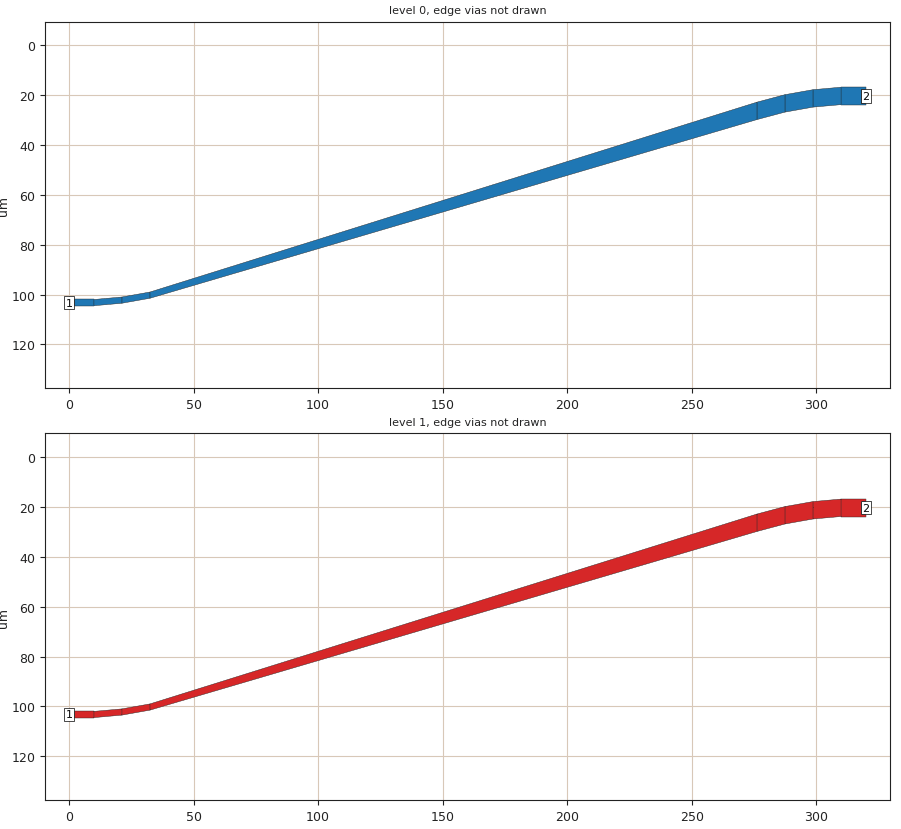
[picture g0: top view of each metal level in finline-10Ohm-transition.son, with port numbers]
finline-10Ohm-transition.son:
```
FTYP SONPROJ 1 ! Sonnet Project File
VER 9.52
HEADER
LIC cambridge1.10515
DAT 01/19/2004 10:47:34
MDATE 01/19/2004 10:47:34
HDATE 01/19/2004 10:47:34
END HEADER
DIM
FREQ GHZ
IND NH
LNG UM
ANG DEG
CON /OH
CAP PF
RES OH
END DIM
FREQ
SIMPLE 500.0 900.0 100.0
END FREQ
CONTROL
SIMPLE
OPTIONS  -d 
SPEED 1
CACHE_ABS 1
TARG_ABS 300
END CONTROL
GEO
TMET "Free Space" 0 FREESPACE 376.7303136 0 0 0
BMET "Nb (low Freq) 2.5K" 1 SUP 0 0 0 0.139
MET "Nb (low Freq) 2.5K" 1 SUP 0 0 0 0.139
BOX 2 320 128 512 1024 20 0
      100 1 1 0 0 0 2 "Air"
      0.425 1 1 0 0 0 2 "Air"
      0.425 5.8 1 0.0004 0 0 2 "SiO"
EVIA1
POLY 1004 1
2
TOLEVEL 1
EVIA1
POLY 1004 1
0
TOLEVEL 1
EVIA1
POLY 1004 1
1
TOLEVEL 1
EVIA1
POLY 1004 1
3
TOLEVEL 1
EVIA1
POLY 1005 1
2
TOLEVEL 1
EVIA1
POLY 1005 1
0
TOLEVEL 1
EVIA1
POLY 1005 1
3
TOLEVEL 1
EVIA1
POLY 1005 1
1
TOLEVEL 1
EVIA1
POLY 1006 1
2
TOLEVEL 1
EVIA1
POLY 1006 1
0
TOLEVEL 1
EVIA1
POLY 1006 1
3
TOLEVEL 1
EVIA1
POLY 1006 1
1
TOLEVEL 1
EVIA1
POLY 1007 1
0
TOLEVEL 1
EVIA1
POLY 1007 1
2
TOLEVEL 1
EVIA1
POLY 1007 1
3
TOLEVEL 1
EVIA1
POLY 1007 1
1
TOLEVEL 1
EVIA1
POLY 1008 1
0
TOLEVEL 1
EVIA1
POLY 1008 1
2
TOLEVEL 1
EVIA1
POLY 1008 1
1
TOLEVEL 1
EVIA1
POLY 1008 1
3
TOLEVEL 1
EVIA1
POLY 1009 1
2
TOLEVEL 1
EVIA1
POLY 1009 1
0
TOLEVEL 1
EVIA1
POLY 1009 1
1
TOLEVEL 1
EVIA1
POLY 1009 1
3
TOLEVEL 1
EVIA1
POLY 1010 1
2
TOLEVEL 1
EVIA1
POLY 1010 1
0
TOLEVEL 1
EVIA1
POLY 1010 1
1
TOLEVEL 1
EVIA1
POLY 1010 1
3
TOLEVEL 1
EVIA1
POLY 1013 1
0
TOLEVEL 1
EVIA1
POLY 1013 1
2
TOLEVEL 1
EVIA1
POLY 1013 1
1
TOLEVEL 1
EVIA1
POLY 1013 1
3
TOLEVEL 1
POR1 STD
POLY 1004 1
3
1 26 0 0 0 0 103.2500086 
POR1 STD
POLY 1005 1
1
2 10 0 0 0 320 20.25000329 
POR1 STD
POLY 1015 1
3
1 26 0 0 0 0 103.2500086 
POR1 STD
POLY 1017 1
1
2 10 0 0 0 320 20.25000328 
NUM 16
0 5 0 N 1004 1 1 100 100 0 0 0 Y
0 102.0000103
10 102.0000103
10 104.5000069
0 104.5000069
0 102.0000103
END
0 5 0 N 1005 1 1 100 100 0 0 0 Y
310 16.75000471
320 16.75000471
320 23.75000186
310 23.75000186
310 16.75000471
END
0 5 0 V 1006 1 1 100 100 0 0 0 Y
10 102.0000103
21.25 101.0000103
21.25 103.5000103
10 104.5000103
10 102.0000103
END
0 5 0 V 1007 1 1 100 100 0 0 0 Y
21.25 101.0000103
32.5 99.00001031
32.5 101.5000103
21.25 103.5000137
21.25 101.0000103
END
0 5 0 V 1008 1 1 100 100 0 0 0 Y
298.75 17.75000471
310 16.75000471
310 23.75000471
298.75 24.75000471
298.75 17.75000471
END
0 5 0 V 1009 1 1 100 100 0 0 0 Y
287.5 19.75000471
298.75 17.75000471
298.75 24.75000471
287.5 26.75000471
287.5 19.75000471
END
0 5 0 V 1010 1 1 100 100 0 0 0 Y
276.25 22.75000471
287.5 19.75000471
287.5 26.75000471
276.25 29.75000471
276.25 22.75000471
END
0 5 0 V 1013 1 1 100 100 10 0 0 Y
32.5 101.5000103
276.25 29.75000471
276.25 22.75000471
32.5 99.00001031
32.5 101.5000103
END
1 5 0 N 1015 1 1 100 100 0 0 0 Y
0 102.0000103
10 102.0000103
10 104.5000069
0 104.5000069
0 102.0000103
END
1 5 0 N 1017 1 1 100 100 0 0 0 Y
310 16.75000471
320 16.75000471
320 23.75000186
310 23.75000186
310 16.75000471
END
1 5 0 V 1019 1 1 100 100 0 0 0 Y
10 102.0000103
21.25 101.0000103
21.25 103.5000103
10 104.5000103
10 102.0000103
END
1 5 0 V 1021 1 1 100 100 0 0 0 Y
21.25 101.0000103
32.5 99.00001031
32.5 101.5000103
21.25 103.5000137
21.25 101.0000103
END
1 5 0 V 1023 1 1 100 100 0 0 0 Y
298.75 17.75000471
310 16.75000471
310 23.75000471
298.75 24.75000471
298.75 17.75000471
END
1 5 0 V 1025 1 1 100 100 0 0 0 Y
287.5 19.75000471
298.75 17.75000471
298.75 24.75000471
287.5 26.75000471
287.5 19.75000471
END
1 5 0 V 1027 1 1 100 100 0 0 0 Y
276.25 22.75000471
287.5 19.75000471
287.5 26.75000471
276.25 29.75000471
276.25 22.75000471
END
1 5 0 V 1029 1 1 100 100 10 0 0 Y
32.5 101.5000103
276.25 29.75000471
276.25 22.75000471
32.5 99.00001031
32.5 101.5000103
END
END GEO
OPT
MAX 100
VARS
END OPT
VARSWP
END VARSWP
QSG
IMPORT NO
EXTRA_METAL NO
UNITS NO
ALIGN NO
REF NO
VIEW_RES NO
METALS YES
USED YES
END QSG
```
